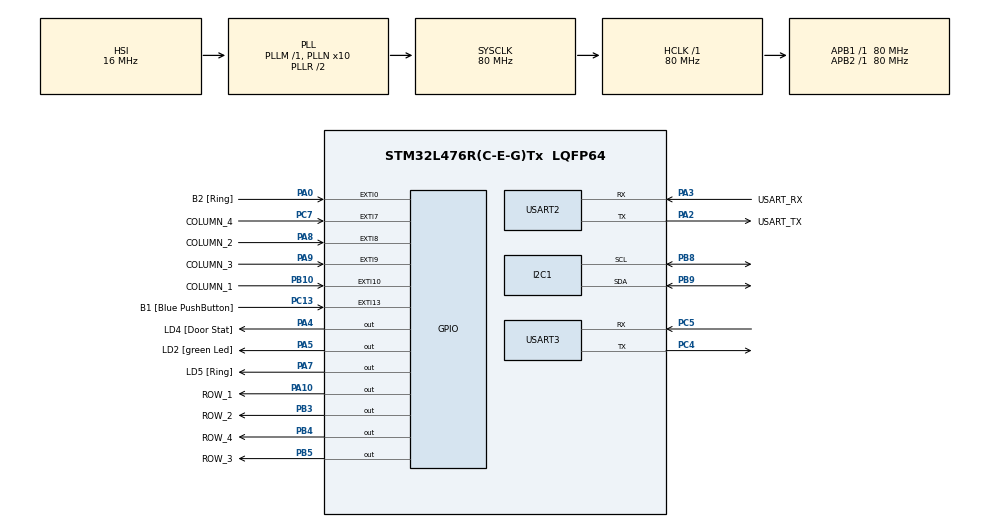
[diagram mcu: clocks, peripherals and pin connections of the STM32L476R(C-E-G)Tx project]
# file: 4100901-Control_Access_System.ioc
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I2C1.Timing=0x10D19CE4
Mcu.Family=STM32L4
Mcu.Name=STM32L476R(C-E-G)Tx
Mcu.Package=LQFP64
NVIC.EXTI0_IRQn=true\:0\:0\:false\:false\:true\:true\:true\:true
NVIC.EXTI15_10_IRQn=true\:1\:0\:true\:false\:true\:true\:true\:true
NVIC.EXTI9_5_IRQn=true\:1\:0\:true\:false\:true\:true\:true\:true
NVIC.PriorityGroup=NVIC_PRIORITYGROUP_4
NVIC.USART2_IRQn=true\:0\:0\:false\:false\:true\:true\:true\:true
NVIC.USART3_IRQn=true\:0\:0\:false\:false\:true\:true\:true\:true
PA0.GPIO_Label=B2 [Ring]
PA0.GPIO_ModeDefaultEXTI=GPIO_MODE_IT_FALLING
PA0.Signal=GPXTI0
PA10.GPIO_Label=ROW_1
PA10.GPIO_ModeDefaultOutputPP=GPIO_MODE_OUTPUT_OD
PA10.GPIO_PuPd=GPIO_NOPULL
PA10.GPIO_Speed=GPIO_SPEED_FREQ_VERY_HIGH
PA10.PinState=GPIO_PIN_RESET
PA10.Signal=GPIO_Output
PA13\ (JTMS-SWDIO).GPIO_Label=TMS
PA13\ (JTMS-SWDIO).Mode=Serial_Wire
PA13\ (JTMS-SWDIO).Signal=SYS_JTMS-SWDIO
PA14\ (JTCK-SWCLK).GPIO_Label=TCK
PA14\ (JTCK-SWCLK).Mode=Serial_Wire
PA14\ (JTCK-SWCLK).Signal=SYS_JTCK-SWCLK
PA2.GPIO_Label=USART_TX
PA2.GPIO_Mode=GPIO_MODE_AF_PP
PA2.GPIO_PuPd=GPIO_NOPULL
PA2.GPIO_Speed=GPIO_SPEED_FREQ_VERY_HIGH
PA2.Mode=Asynchronous
PA2.Signal=USART2_TX
PA3.GPIO_Label=USART_RX
PA3.GPIO_Mode=GPIO_MODE_AF_PP
PA3.GPIO_PuPd=GPIO_NOPULL
PA3.GPIO_Speed=GPIO_SPEED_FREQ_VERY_HIGH
PA3.Mode=Asynchronous
PA3.Signal=USART2_RX
PA4.GPIO_Label=LD4 [Door Stat]
PA4.Signal=GPIO_Output
PA5.GPIO_Label=LD2 [green Led]
PA5.GPIO_ModeDefaultOutputPP=GPIO_MODE_OUTPUT_PP
PA5.GPIO_PuPd=GPIO_NOPULL
PA5.GPIO_Speed=GPIO_SPEED_FREQ_LOW
PA5.Signal=GPIO_Output
PA7.GPIO_Label=LD5 [Ring]
PA7.Signal=GPIO_Output
PA8.GPIO_Label=COLUMN_2
PA8.GPIO_ModeDefaultEXTI=GPIO_MODE_IT_FALLING
PA8.GPIO_PuPd=GPIO_PULLUP
PA8.Signal=GPXTI8
PA9.GPIO_Label=COLUMN_3
PA9.GPIO_ModeDefaultEXTI=GPIO_MODE_IT_FALLING
PA9.GPIO_PuPd=GPIO_PULLUP
PA9.Signal=GPXTI9
PB10.GPIO_Label=COLUMN_1
PB10.GPIO_ModeDefaultEXTI=GPIO_MODE_IT_FALLING
PB10.GPIO_PuPd=GPIO_PULLUP
PB10.Signal=GPXTI10
PB3\ (JTDO-TRACESWO).GPIO_Label=ROW_2
PB3\ (JTDO-TRACESWO).GPIO_ModeDefaultOutputPP=GPIO_MODE_OUTPUT_OD
PB3\ (JTDO-TRACESWO).GPIO_PuPd=GPIO_NOPULL
PB3\ (JTDO-TRACESWO).GPIO_Speed=GPIO_SPEED_FREQ_VERY_HIGH
PB3\ (JTDO-TRACESWO).PinState=GPIO_PIN_RESET
PB3\ (JTDO-TRACESWO).Signal=GPIO_Output
PB4\ (NJTRST).GPIO_Label=ROW_4
PB4\ (NJTRST).GPIO_ModeDefaultOutputPP=GPIO_MODE_OUTPUT_OD
PB4\ (NJTRST).GPIO_PuPd=GPIO_NOPULL
PB4\ (NJTRST).GPIO_Speed=GPIO_SPEED_FREQ_VERY_HIGH
PB4\ (NJTRST).PinState=GPIO_PIN_RESET
PB4\ (NJTRST).Signal=GPIO_Output
PB5.GPIO_Label=ROW_3
PB5.GPIO_ModeDefaultOutputPP=GPIO_MODE_OUTPUT_OD
PB5.GPIO_PuPd=GPIO_NOPULL
PB5.GPIO_Speed=GPIO_SPEED_FREQ_VERY_HIGH
PB5.PinState=GPIO_PIN_RESET
PB5.Signal=GPIO_Output
PB8.Mode=I2C
PB8.Signal=I2C1_SCL
PB9.Mode=I2C
PB9.Signal=I2C1_SDA
PC13.GPIO_Label=B1 [Blue PushButton]
PC13.GPIO_ModeDefaultEXTI=GPIO_MODE_IT_FALLING
PC13.GPIO_PuPd=GPIO_NOPULL
PC13.Signal=GPXTI13
PC14-OSC32_IN\ (PC14).Mode=LSE-External-Oscillator
PC14-OSC32_IN\ (PC14).Signal=RCC_OSC32_IN
PC15-OSC32_OUT\ (PC15).Mode=LSE-External-Oscillator
PC15-OSC32_OUT\ (PC15).Signal=RCC_OSC32_OUT
PC4.Mode=Asynchronous
PC4.Signal=USART3_TX
PC5.Mode=Asynchronous
PC5.Signal=USART3_RX
PC7.GPIO_Label=COLUMN_4
PC7.GPIO_ModeDefaultEXTI=GPIO_MODE_IT_FALLING
PC7.GPIO_PuPd=GPIO_PULLUP
PC7.Signal=GPXTI7
PH0-OSC_IN\ (PH0).Signal=RCC_OSC_IN
PH1-OSC_OUT\ (PH1).Signal=RCC_OSC_OUT
ProjectManager.HeapSize=0x200
ProjectManager.StackSize=0x400
ProjectManager.TargetToolchain=CMake
RCC.ADCFreq_Value=64000000
RCC.AHBFreq_Value=80000000
RCC.APB1Freq_Value=80000000
RCC.APB1TimFreq_Value=80000000
RCC.APB2Freq_Value=80000000
RCC.APB2TimFreq_Value=80000000
RCC.CortexFreq_Value=80000000
RCC.HCLKFreq_Value=80000000
RCC.HSE_VALUE=8000000
RCC.HSI_VALUE=16000000
RCC.MSI_VALUE=4000000
RCC.PLLN=10
RCC.PLLSourceVirtual=RCC_PLLSOURCE_HSI
RCC.PREFETCH_ENABLE=1
RCC.SYSCLKFreq_VALUE=80000000
RCC.SYSCLKSource=RCC_SYSCLKSOURCE_PLLCLK
RCC.USBFreq_Value=64000000
RCC.VCOOutputFreq_Value=160000000
USART2.VirtualMode-Asynchronous=VM_ASYNC
USART3.VirtualMode-Asynchronous=VM_ASYNC
board=NUCLEO-L476RG

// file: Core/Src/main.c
/* USER CODE BEGIN Header */
/**
  ******************************************************************************
  * @file           : main.c
  * @brief          : Main program body.
  ******************************************************************************
  * @attention
  *
  * (CubeMX generated code – do not change)
  *
  ******************************************************************************
  */
/* USER CODE END Header */
#include "main.h"

/* USER CODE BEGIN Includes */
#include "keypad.h"
#include "ring_buffer.h"
#include "ssd1306.h"
#include "ssd1306_fonts.h"
#include "command_handler.h"
#include "button_handler.h"
#include "door_controller.h"
#include <string.h>
/* USER CODE END Includes */

/* USER CODE BEGIN PTD */
// (None moved here – user typedefs now in libraries as needed)
/* USER CODE END PTD */

/* USER CODE BEGIN PD */
#define FW_VERSION "0.2.1\r\n"
/* USER CODE END PD */

I2C_HandleTypeDef hi2c1;

UART_HandleTypeDef huart2;
UART_HandleTypeDef huart3;

/* USER CODE BEGIN PV */
uint8_t rx_byte;
uint8_t byte_received_uart2;
uint8_t byte_received_uart3;
/* --- Global variable for last activity --- */
uint32_t last_activity_tick = 0;

/* --- Ring buffers for different interfaces --- */
ring_buffer_t rx_buffer;                // UART2
uint8_t rx_buffer_mem[64];

ring_buffer_t rx_buffer_uart3;          // UART3
uint8_t rx_buffer_uart3_mem[64];

ring_buffer_t rx_buffer_keypad;         // Keypad input
uint8_t rx_buffer_keypad_mem[64];

/* --- Command buffers for each interface (3-byte command) --- */
#define COMMAND_LENGTH 3
char current_cmd_uart2[COMMAND_LENGTH] = {0};
char current_cmd_uart3[COMMAND_LENGTH] = {0};
char current_cmd_keypad[COMMAND_LENGTH] = {0};

/* USER CODE END PV */

void SystemClock_Config(void);
static void MX_GPIO_Init(void);
static void MX_USART2_UART_Init(void);
static void MX_USART3_UART_Init(void);
static void MX_I2C1_Init(void);

/* USER CODE BEGIN 0 */

/* --- Override external interrupt callback to delegate to button_handler --- */
void HAL_GPIO_EXTI_Callback(uint16_t GPIO_Pin) {
  button_handler_exti_callback(GPIO_Pin);
}

/* --- UART Receive Callback --- */
void HAL_UART_RxCpltCallback(UART_HandleTypeDef *huart){
  uint32_t current_tick = HAL_GetTick();  // any UART activity resets inactivity timer
  last_activity_tick = current_tick;
  if (huart == &huart2) {
    ring_buffer_write(&rx_buffer, rx_byte);
    HAL_UART_Transmit(&huart3, &rx_byte, 1, 10);
    HAL_UART_Receive_IT(&huart2, &rx_byte, 1);
  } else if (huart == &huart3) {
    ring_buffer_write(&rx_buffer_uart3, rx_byte);
    HAL_UART_Transmit(&huart2, &rx_byte, 1, 10);
    HAL_UART_Receive_IT(&huart3, &rx_byte, 1);
  }
}

/* --- Heartbeat LED toggle (remains in main) --- */
void heartbeat(void)
{
  static uint32_t last_tick = 0;
  if ((last_tick + 500) < HAL_GetTick()) {
    last_tick = HAL_GetTick();
    HAL_GPIO_TogglePin(LD2_GPIO_Port, LD2_Pin);
  }
}
void uart_send_string(const char *str) {
  HAL_UART_Transmit(&huart2, (uint8_t *)str, strlen(str), 100);
  HAL_UART_Transmit(&huart3, (uint8_t *)str, strlen(str), 100);
}

/* USER CODE END 0 */

int main(void)
{

  /* MCU Configuration--------------------------------------------------------*/

  /* Reset of all peripherals, Initializes the Flash interface and the Systick. */
  HAL_Init();

  /* Configure the system clock */
  SystemClock_Config();

  /* Initialize all configured peripherals */
  MX_GPIO_Init();
  MX_USART2_UART_Init();
  MX_USART3_UART_Init();
  MX_I2C1_Init();
  /* USER CODE BEGIN 2 */
  ssd1306_Init();
  ssd1306_Fill(Black);
  ssd1306_UpdateScreen();
  keypad_init();

  /* Initialize ring buffers for each interface */
  ring_buffer_init(&rx_buffer, rx_buffer_mem, sizeof(rx_buffer_mem));                     // UART2
  ring_buffer_init(&rx_buffer_uart3, rx_buffer_uart3_mem, sizeof(rx_buffer_uart3_mem));       // UART3
  ring_buffer_init(&rx_buffer_keypad, rx_buffer_keypad_mem, sizeof(rx_buffer_keypad_mem));     // Keypad

  HAL_UART_Receive_IT(&huart2, &byte_received_uart2, 1);
  HAL_UART_Receive_IT(&huart3, &byte_received_uart3, 1);
  HAL_UART_Transmit(&huart2, (uint8_t *)FW_VERSION, strlen(FW_VERSION), 10);
  HAL_UART_Transmit(&huart3, (uint8_t *)FW_VERSION, strlen(FW_VERSION), 10);

  memset(current_cmd_uart2, 0, COMMAND_LENGTH);
  memset(current_cmd_uart3, 0, COMMAND_LENGTH);
  memset(current_cmd_keypad, 0, COMMAND_LENGTH);

  last_activity_tick = HAL_GetTick();
  uart_send_string(FW_VERSION);
  /* USER CODE END 2 */

  /* Infinite loop */
  while (1)
  {
    heartbeat();

    /* Check for inactivity (30 sec) */
    if (HAL_GetTick() - last_activity_tick >= 30000) {
      sleep_mode_inactivity();
    }

    /* Process keypad external interrupts.
       Retrieve the column from the button_handler (set in the EXTI callback)
       and if a key is available, scan and write it to the keypad ring buffer. */
    uint16_t col = button_handler_get_column();
    if (col != 0) {
      uint8_t key = keypad_scan(col);
      ring_buffer_write(&rx_buffer_keypad, key);
      HAL_UART_Transmit(&huart2, &key, 1, 100);
      HAL_UART_Transmit(&huart3, &key, 1, 100);
    }

    /* Process commands from all three interfaces */
    process_all_commands(&rx_buffer, current_cmd_uart2,
                         &rx_buffer_uart3, current_cmd_uart3,
                         &rx_buffer_keypad, current_cmd_keypad);

    /* Process B1 button actions (single/double press for door control) */
    button_handler_process();

    /* Auto-close the door after 5 seconds if open temporarily */
    door_controller_auto_close_check();

    /* Process ring button (B2) and update OLED display */
    button_handler_process_ring();
  }
}

void SystemClock_Config(void)
{
  RCC_OscInitTypeDef RCC_OscInitStruct = {0};
  RCC_ClkInitTypeDef RCC_ClkInitStruct = {0};

  /** Configure the main internal regulator output voltage
  */
  if (HAL_PWREx_ControlVoltageScaling(PWR_REGULATOR_VOLTAGE_SCALE1) != HAL_OK)
  {
    Error_Handler();
  }

  /** Initializes the RCC Oscillators according to the specified parameters
  * in the RCC_OscInitTypeDef structure.
  */
  RCC_OscInitStruct.OscillatorType = RCC_OSCILLATORTYPE_HSI;
  RCC_OscInitStruct.HSIState = RCC_HSI_ON;
  RCC_OscInitStruct.HSICalibrationValue = RCC_HSICALIBRATION_DEFAULT;
  RCC_OscInitStruct.PLL.PLLState = RCC_PLL_ON;
  RCC_OscInitStruct.PLL.PLLSource = RCC_PLLSOURCE_HSI;
  RCC_OscInitStruct.PLL.PLLM = 1;
  RCC_OscInitStruct.PLL.PLLN = 10;
  RCC_OscInitStruct.PLL.PLLP = RCC_PLLP_DIV7;
  RCC_OscInitStruct.PLL.PLLQ = RCC_PLLQ_DIV2;
  RCC_OscInitStruct.PLL.PLLR = RCC_PLLR_DIV2;
  if (HAL_RCC_OscConfig(&RCC_OscInitStruct) != HAL_OK)
  {
    Error_Handler();
  }

  /** Initializes the CPU, AHB and APB buses clocks
  */
  RCC_ClkInitStruct.ClockType = RCC_CLOCKTYPE_HCLK|RCC_CLOCKTYPE_SYSCLK
                              |RCC_CLOCKTYPE_PCLK1|RCC_CLOCKTYPE_PCLK2;
  RCC_ClkInitStruct.SYSCLKSource = RCC_SYSCLKSOURCE_PLLCLK;
  RCC_ClkInitStruct.AHBCLKDivider = RCC_SYSCLK_DIV1;
  RCC_ClkInitStruct.APB1CLKDivider = RCC_HCLK_DIV1;
  RCC_ClkInitStruct.APB2CLKDivider = RCC_HCLK_DIV1;

  if (HAL_RCC_ClockConfig(&RCC_ClkInitStruct, FLASH_LATENCY_4) != HAL_OK)
  {
    Error_Handler();
  }
}

static void MX_I2C1_Init(void)
{

  hi2c1.Instance = I2C1;
  hi2c1.Init.Timing = 0x10D19CE4;
  hi2c1.Init.OwnAddress1 = 0;
  hi2c1.Init.AddressingMode = I2C_ADDRESSINGMODE_7BIT;
  hi2c1.Init.DualAddressMode = I2C_DUALADDRESS_DISABLE;
  hi2c1.Init.OwnAddress2 = 0;
  hi2c1.Init.OwnAddress2Masks = I2C_OA2_NOMASK;
  hi2c1.Init.GeneralCallMode = I2C_GENERALCALL_DISABLE;
  hi2c1.Init.NoStretchMode = I2C_NOSTRETCH_DISABLE;
  if (HAL_I2C_Init(&hi2c1) != HAL_OK)
  {
    Error_Handler();
  }

  /** Configure Analogue filter
  */
  if (HAL_I2CEx_ConfigAnalogFilter(&hi2c1, I2C_ANALOGFILTER_ENABLE) != HAL_OK)
  {
    Error_Handler();
  }

  /** Configure Digital filter
  */
  if (HAL_I2CEx_ConfigDigitalFilter(&hi2c1, 0) != HAL_OK)
  {
    Error_Handler();
  }

}

static void MX_USART2_UART_Init(void)
{

  huart2.Instance = USART2;
  huart2.Init.BaudRate = 115200;
  huart2.Init.WordLength = UART_WORDLENGTH_8B;
  huart2.Init.StopBits = UART_STOPBITS_1;
  huart2.Init.Parity = UART_PARITY_NONE;
  huart2.Init.Mode = UART_MODE_TX_RX;
  huart2.Init.HwFlowCtl = UART_HWCONTROL_NONE;
  huart2.Init.OverSampling = UART_OVERSAMPLING_16;
  huart2.Init.OneBitSampling = UART_ONE_BIT_SAMPLE_DISABLE;
  huart2.AdvancedInit.AdvFeatureInit = UART_ADVFEATURE_NO_INIT;
  if (HAL_UART_Init(&huart2) != HAL_OK)
  {
    Error_Handler();
  }

}

static void MX_USART3_UART_Init(void)
{

  huart3.Instance = USART3;
  huart3.Init.BaudRate = 115200;
  huart3.Init.WordLength = UART_WORDLENGTH_8B;
  huart3.Init.StopBits = UART_STOPBITS_1;
  huart3.Init.Parity = UART_PARITY_NONE;
  huart3.Init.Mode = UART_MODE_TX_RX;
  huart3.Init.HwFlowCtl = UART_HWCONTROL_NONE;
  huart3.Init.OverSampling = UART_OVERSAMPLING_16;
  huart3.Init.OneBitSampling = UART_ONE_BIT_SAMPLE_DISABLE;
  huart3.AdvancedInit.AdvFeatureInit = UART_ADVFEATURE_NO_INIT;
  if (HAL_UART_Init(&huart3) != HAL_OK)
  {
    Error_Handler();
  }

}

static void MX_GPIO_Init(void)
{
  GPIO_InitTypeDef GPIO_InitStruct = {0};

  /* GPIO Ports Clock Enable */
  __HAL_RCC_GPIOC_CLK_ENABLE();
  __HAL_RCC_GPIOH_CLK_ENABLE();
  __HAL_RCC_GPIOA_CLK_ENABLE();
  __HAL_RCC_GPIOB_CLK_ENABLE();

  /*Configure GPIO pin Output Level */
  HAL_GPIO_WritePin(GPIOA, LD4_Pin|LD2_Pin|LD5_Pin|ROW_1_Pin, GPIO_PIN_RESET);

  /*Configure GPIO pin Output Level */
  HAL_GPIO_WritePin(GPIOB, ROW_2_Pin|ROW_4_Pin|ROW_3_Pin, GPIO_PIN_RESET);

  /*Configure GPIO pin : B1_Pin */
  GPIO_InitStruct.Pin = B1_Pin;
  GPIO_InitStruct.Mode = GPIO_MODE_IT_FALLING;
  GPIO_InitStruct.Pull = GPIO_NOPULL;
  HAL_GPIO_Init(B1_GPIO_Port, &GPIO_InitStruct);

  /*Configure GPIO pin : B2_Pin */
  GPIO_InitStruct.Pin = B2_Pin;
  GPIO_InitStruct.Mode = GPIO_MODE_IT_FALLING;
  GPIO_InitStruct.Pull = GPIO_NOPULL;
  HAL_GPIO_Init(B2_GPIO_Port, &GPIO_InitStruct);

  /*Configure GPIO pins : LD4_Pin LD2_Pin LD5_Pin */
  GPIO_InitStruct.Pin = LD4_Pin|LD2_Pin|LD5_Pin;
  GPIO_InitStruct.Mode = GPIO_MODE_OUTPUT_PP;
  GPIO_InitStruct.Pull = GPIO_NOPULL;
  GPIO_InitStruct.Speed = GPIO_SPEED_FREQ_LOW;
  HAL_GPIO_Init(GPIOA, &GPIO_InitStruct);

  /*Configure GPIO pin : COLUMN_1_Pin */
  GPIO_InitStruct.Pin = COLUMN_1_Pin;
  GPIO_InitStruct.Mode = GPIO_MODE_IT_FALLING;
  GPIO_InitStruct.Pull = GPIO_PULLUP;
  HAL_GPIO_Init(COLUMN_1_GPIO_Port, &GPIO_InitStruct);

  /*Configure GPIO pin : COLUMN_4_Pin */
  GPIO_InitStruct.Pin = COLUMN_4_Pin;
  GPIO_InitStruct.Mode = GPIO_MODE_IT_FALLING;
  GPIO_InitStruct.Pull = GPIO_PULLUP;
  HAL_GPIO_Init(COLUMN_4_GPIO_Port, &GPIO_InitStruct);

  /*Configure GPIO pins : COLUMN_2_Pin COLUMN_3_Pin */
  GPIO_InitStruct.Pin = COLUMN_2_Pin|COLUMN_3_Pin;
  GPIO_InitStruct.Mode = GPIO_MODE_IT_FALLING;
  GPIO_InitStruct.Pull = GPIO_PULLUP;
  HAL_GPIO_Init(GPIOA, &GPIO_InitStruct);

  /*Configure GPIO pin : ROW_1_Pin */
  GPIO_InitStruct.Pin = ROW_1_Pin;
  GPIO_InitStruct.Mode = GPIO_MODE_OUTPUT_OD;
  GPIO_InitStruct.Pull = GPIO_NOPULL;
  GPIO_InitStruct.Speed = GPIO_SPEED_FREQ_VERY_HIGH;
  HAL_GPIO_Init(ROW_1_GPIO_Port, &GPIO_InitStruct);

  /*Configure GPIO pins : ROW_2_Pin ROW_4_Pin ROW_3_Pin */
  GPIO_InitStruct.Pin = ROW_2_Pin|ROW_4_Pin|ROW_3_Pin;
  GPIO_InitStruct.Mode = GPIO_MODE_OUTPUT_OD;
  GPIO_InitStruct.Pull = GPIO_NOPULL;
  GPIO_InitStruct.Speed = GPIO_SPEED_FREQ_VERY_HIGH;
  HAL_GPIO_Init(GPIOB, &GPIO_InitStruct);

  /* EXTI interrupt init*/
  HAL_NVIC_SetPriority(EXTI0_IRQn, 0, 0);
  HAL_NVIC_EnableIRQ(EXTI0_IRQn);

  HAL_NVIC_SetPriority(EXTI9_5_IRQn, 1, 0);
  HAL_NVIC_EnableIRQ(EXTI9_5_IRQn);

  HAL_NVIC_SetPriority(EXTI15_10_IRQn, 1, 0);
  HAL_NVIC_EnableIRQ(EXTI15_10_IRQn);

}

void Error_Handler(void)
{
  __disable_irq();
  while (1)
  {
  }
}
